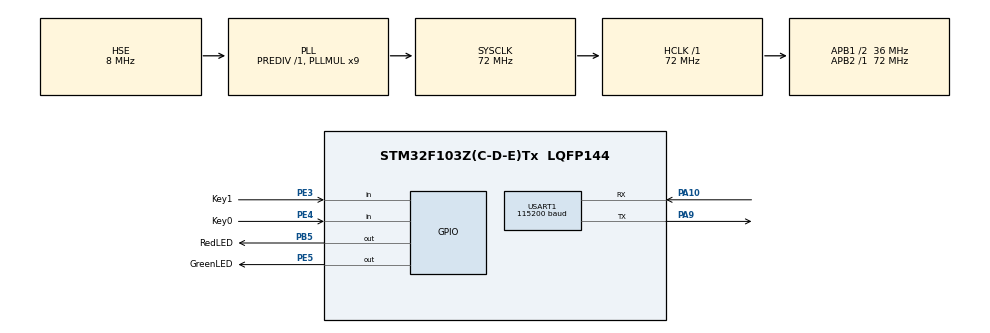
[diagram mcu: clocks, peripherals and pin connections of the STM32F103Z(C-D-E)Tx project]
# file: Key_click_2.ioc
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Mcu.Family=STM32F1
Mcu.Name=STM32F103Z(C-D-E)Tx
Mcu.Package=LQFP144
NVIC.PriorityGroup=NVIC_PRIORITYGROUP_4
NVIC.TIM6_IRQn=true\:0\:0\:false\:false\:true\:true\:true\:true
OSC_IN.Mode=HSE-External-Oscillator
OSC_IN.Signal=RCC_OSC_IN
OSC_OUT.Mode=HSE-External-Oscillator
OSC_OUT.Signal=RCC_OSC_OUT
PA10.Mode=Asynchronous
PA10.Signal=USART1_RX
PA13.Mode=Serial_Wire
PA13.Signal=SYS_JTMS-SWDIO
PA14.Mode=Serial_Wire
PA14.Signal=SYS_JTCK-SWCLK
PA9.Mode=Asynchronous
PA9.Signal=USART1_TX
PB5.GPIO_Label=RedLED
PB5.GPIO_PuPd=GPIO_PULLDOWN
PB5.PinState=GPIO_PIN_SET
PB5.Signal=GPIO_Output
PC14-OSC32_IN.Mode=LSE-External-Oscillator
PC14-OSC32_IN.Signal=RCC_OSC32_IN
PC15-OSC32_OUT.Mode=LSE-External-Oscillator
PC15-OSC32_OUT.Signal=RCC_OSC32_OUT
PE3.GPIO_Label=Key1
PE3.GPIO_PuPd=GPIO_PULLUP
PE3.Signal=GPIO_Input
PE4.GPIO_Label=Key0
PE4.GPIO_PuPd=GPIO_PULLUP
PE4.Signal=GPIO_Input
PE5.GPIO_Label=GreenLED
PE5.GPIO_PuPd=GPIO_PULLDOWN
PE5.PinState=GPIO_PIN_SET
PE5.Signal=GPIO_Output
ProjectManager.HeapSize=0x200
ProjectManager.StackSize=0x400
ProjectManager.TargetToolchain=CMake
RCC.AHBFreq_Value=72000000
RCC.APB1CLKDivider=RCC_HCLK_DIV2
RCC.APB1Freq_Value=36000000
RCC.APB1TimFreq_Value=72000000
RCC.APB2Freq_Value=72000000
RCC.APB2TimFreq_Value=72000000
RCC.FLatency=FLASH_LATENCY_2
RCC.HCLKFreq_Value=72000000
RCC.PLLMUL=RCC_PLL_MUL9
RCC.PLLSourceVirtual=RCC_PLLSOURCE_HSE
RCC.SYSCLKFreq_VALUE=72000000
RCC.SYSCLKSource=RCC_SYSCLKSOURCE_PLLCLK
RCC.USBFreq_Value=72000000
TIM6.AutoReloadPreload=TIM_AUTORELOAD_PRELOAD_DISABLE
TIM6.CounterMode=TIM_COUNTERMODE_UP
TIM6.Period=10000 - 1
TIM6.Prescaler=72 - 1
TIM6.TIM_MasterOutputTrigger=TIM_TRGO_RESET
USART1.BaudRate=115200
USART1.Mode=MODE_TX_RX
USART1.Parity=PARITY_NONE
USART1.StopBits=STOPBITS_1
USART1.VirtualMode=VM_ASYNC
USART1.WordLength=WORDLENGTH_8B
VP_TIM6_VS_ClockSourceINT.Mode=Enable_Timer
board=custom

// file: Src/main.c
/* USER CODE BEGIN Header */
/**
 ******************************************************************************
 * @file           : main.c
 * @brief          : Main program body
 ******************************************************************************
 * @attention
 *
 * Copyright (c) 2025 STMicroelectronics.
 * All rights reserved.
 *
 * This software is licensed under terms that can be found in the LICENSE file
 * in the root directory of this software component.
 * If no LICENSE file comes with this software, it is provided AS-IS.
 *
 ******************************************************************************
 */
/* USER CODE END Header */
#include "main.h"

#include "gpio.h"
#include "tim.h"
#include "usart.h"

/* USER CODE BEGIN PTD */
// 按键事件类型
typedef enum {
    KEY_EVENT_NONE = 0, // 无事件
    KEY_EVENT_SINGLE, // 单击
    KEY_EVENT_DOUBLE, // 双击
    KEY_EVENT_LONG, // 长按（持续1秒）
} KeyEventType;

// 按键状态机状态
typedef enum {
    KEY_STATE_RELEASED, // 按键释放状态
    KEY_STATE_PRESS_DEBOUNCE, // 按下消抖状态
    KEY_STATE_RELEASE_DEBOUNCE, // 释放消抖状态
    KEY_STATE_PRESSED, // 按下稳定状态
    KEY_STATE_LONG_PRESSED, // 长按状态
    KEY_STATE_WAIT_DOUBLE, // 等待双击时间窗口
} KeyState;

// 按键结构体
typedef struct {
    KeyState state; // 当前状态
    uint32_t pressTime; // 按下时间戳（ms）
    uint32_t releaseTime; // 释放时间戳（ms）
    uint8_t clickCount; // 连击次数
    KeyEventType event; // 检测到的事件
} KeyHandle;

/* USER CODE END PTD */

/* USER CODE BEGIN PD */
#define DEBOUNCE_TIME 20 // 消抖时间（单位：ms）
#define LONG_PRESS_TIME 1000 // 长按判定时间（单位：ms）
#define MULTI_CLICK_TIME 200 // 双击判定窗口（单位：ms）
/* USER CODE END PD */

/* USER CODE BEGIN PV */
KeyHandle key1_handle = {KEY_STATE_RELEASED, 0, 0, 0, KEY_EVENT_NONE};

char msg[] = "Long Press detected\r\n";
/* USER CODE END PV */

void SystemClock_Config(void);

/* USER CODE BEGIN 0 */
/* 获取按键事件 */
KeyEventType KEY_GetEvent(void) {
    KeyEventType event = key1_handle.event;
    key1_handle.event = KEY_EVENT_NONE; // 清除事件标志
    return event;
}
/* USER CODE END 0 */

int main(void) {

    /* MCU Configuration--------------------------------------------------------*/

    /* Reset of all peripherals, Initializes the Flash interface and the Systick. */
    HAL_Init();

    /* Configure the system clock */
    SystemClock_Config();

    /* Initialize all configured peripherals */
    MX_GPIO_Init();
    MX_USART1_UART_Init();
    MX_TIM6_Init();
    /* USER CODE BEGIN 2 */
    HAL_TIM_Base_Start_IT(&htim6);
    /* USER CODE END 2 */

    /* Infinite loop */
    /* USER CODE BEGIN WHILE */
    while (1) {
        // 获取按键事件
        KeyEventType event = KEY_GetEvent();
        if (event != KEY_EVENT_NONE) {
            switch (event) {
                case KEY_EVENT_SINGLE: // 单击操作：例如切换红灯状态
                    HAL_GPIO_TogglePin(RedLED_GPIO_Port, RedLED_Pin);
                    break;
                case KEY_EVENT_DOUBLE: // 双击操作：例如切换绿灯状态
                    HAL_GPIO_TogglePin(GreenLED_GPIO_Port, GreenLED_Pin);
                    break;
                case KEY_EVENT_LONG: // 长按操作：例如通过串口发送信息
                    HAL_UART_Transmit(&huart1, (uint8_t*) msg, sizeof(msg), 1000);
                    break;
                default: break;
            }
        }
        /* USER CODE END WHILE */

        /* USER CODE BEGIN 3 */
        HAL_Delay(10); // 主循环适当延时，降低CPU负担
    }
    /* USER CODE END 3 */
}

void SystemClock_Config(void) {
    RCC_OscInitTypeDef RCC_OscInitStruct = {0};
    RCC_ClkInitTypeDef RCC_ClkInitStruct = {0};

    /** Initializes the RCC Oscillators according to the specified parameters
     * in the RCC_OscInitTypeDef structure.
     */
    RCC_OscInitStruct.OscillatorType = RCC_OSCILLATORTYPE_HSE;
    RCC_OscInitStruct.HSEState = RCC_HSE_ON;
    RCC_OscInitStruct.HSEPredivValue = RCC_HSE_PREDIV_DIV1;
    RCC_OscInitStruct.HSIState = RCC_HSI_ON;
    RCC_OscInitStruct.PLL.PLLState = RCC_PLL_ON;
    RCC_OscInitStruct.PLL.PLLSource = RCC_PLLSOURCE_HSE;
    RCC_OscInitStruct.PLL.PLLMUL = RCC_PLL_MUL9;
    if (HAL_RCC_OscConfig(&RCC_OscInitStruct) != HAL_OK) {
        Error_Handler();
    }

    /** Initializes the CPU, AHB and APB buses clocks
     */
    RCC_ClkInitStruct.ClockType = RCC_CLOCKTYPE_HCLK | RCC_CLOCKTYPE_SYSCLK | RCC_CLOCKTYPE_PCLK1 | RCC_CLOCKTYPE_PCLK2;
    RCC_ClkInitStruct.SYSCLKSource = RCC_SYSCLKSOURCE_PLLCLK;
    RCC_ClkInitStruct.AHBCLKDivider = RCC_SYSCLK_DIV1;
    RCC_ClkInitStruct.APB1CLKDivider = RCC_HCLK_DIV2;
    RCC_ClkInitStruct.APB2CLKDivider = RCC_HCLK_DIV1;

    if (HAL_RCC_ClockConfig(&RCC_ClkInitStruct, FLASH_LATENCY_2) != HAL_OK) {
        Error_Handler();
    }
}

/* USER CODE BEGIN 4 */
/* 定时器中断回调函数 */
// todo
//! 长按后的释放会记录一次单击
void HAL_TIM_PeriodElapsedCallback(TIM_HandleTypeDef* htim) {
    if (htim->Instance == TIM6) {
        // 读取按键状态（假设按键按下为高电平，如硬件为低电平有效请调整判断）
        uint8_t keyPressed = !HAL_GPIO_ReadPin(Key1_GPIO_Port, Key1_Pin);

        switch (key1_handle.state) {
            case KEY_STATE_RELEASED:
                if (keyPressed) {
                    key1_handle.state = KEY_STATE_PRESS_DEBOUNCE;
                    key1_handle.pressTime = HAL_GetTick();
                }
                break;

            case KEY_STATE_PRESS_DEBOUNCE:
                if (HAL_GetTick() - key1_handle.pressTime >= DEBOUNCE_TIME) {
                    if (keyPressed) {
                        key1_handle.state = KEY_STATE_PRESSED;
                    } else {
                        key1_handle.state = KEY_STATE_RELEASED;
                    }
                }
                break;

            case KEY_STATE_PRESSED:
                if (!keyPressed) {
                    // 正常释放时进入释放消抖状态
                    key1_handle.state = KEY_STATE_RELEASE_DEBOUNCE;
                    key1_handle.releaseTime = HAL_GetTick();
                } else {
                    // 检测长按：进入长按状态，不立即输出事件
                    if (HAL_GetTick() - key1_handle.pressTime >= LONG_PRESS_TIME) {
                        key1_handle.clickCount = 0;
                        key1_handle.state = KEY_STATE_LONG_PRESSED;
                        // 注意：此时不输出事件，等待松手后再输出长按事件
                    }
                }
                break;

            case KEY_STATE_LONG_PRESSED:
                if (!keyPressed) {
                    // 按键释放后，消抖后输出长按事件，并清除点击计数（防止被识别成单击）
                    key1_handle.state = KEY_STATE_RELEASE_DEBOUNCE;
                    key1_handle.releaseTime = HAL_GetTick();
                    key1_handle.event = KEY_EVENT_LONG;
                }
                // 如果依然按下，则继续停留在长按状态
                break;

            case KEY_STATE_RELEASE_DEBOUNCE:
                if (HAL_GetTick() - key1_handle.releaseTime >= DEBOUNCE_TIME) {
                    if (!keyPressed) {
                        // 如果之前不是长按情况，则更新点击计数
                        if (key1_handle.event == KEY_EVENT_NONE) {
                            key1_handle.clickCount++; // 增加点击次数
                            key1_handle.state = KEY_STATE_WAIT_DOUBLE;
                            key1_handle.releaseTime = HAL_GetTick();
                        } else {
                            // 如果已经有长按事件，则直接进入释放状态，不累计单击计数
                            key1_handle.state = KEY_STATE_RELEASED;
                            key1_handle.clickCount = 0;
                        }
                    } else {
                        key1_handle.state = KEY_STATE_PRESSED;
                    }
                }
                break;

            case KEY_STATE_WAIT_DOUBLE:
                if (keyPressed) {
                    key1_handle.state = KEY_STATE_PRESS_DEBOUNCE;
                    key1_handle.pressTime = HAL_GetTick();
                } else if (HAL_GetTick() - key1_handle.releaseTime >= MULTI_CLICK_TIME) {
                    // 时间窗口结束，确定点击次数（只处理单击或双击）
                    if (key1_handle.clickCount == 1) {
                        key1_handle.event = KEY_EVENT_SINGLE;
                    } else if (key1_handle.clickCount == 2) {
                        key1_handle.event = KEY_EVENT_DOUBLE;
                    }
                    key1_handle.clickCount = 0;
                    key1_handle.state = KEY_STATE_RELEASED;
                }
                break;

            default: key1_handle.state = KEY_STATE_RELEASED; break;
        }
    }
}
/* USER CODE END 4 */

void Error_Handler(void) {
    __disable_irq();
    while (1) {}
}
